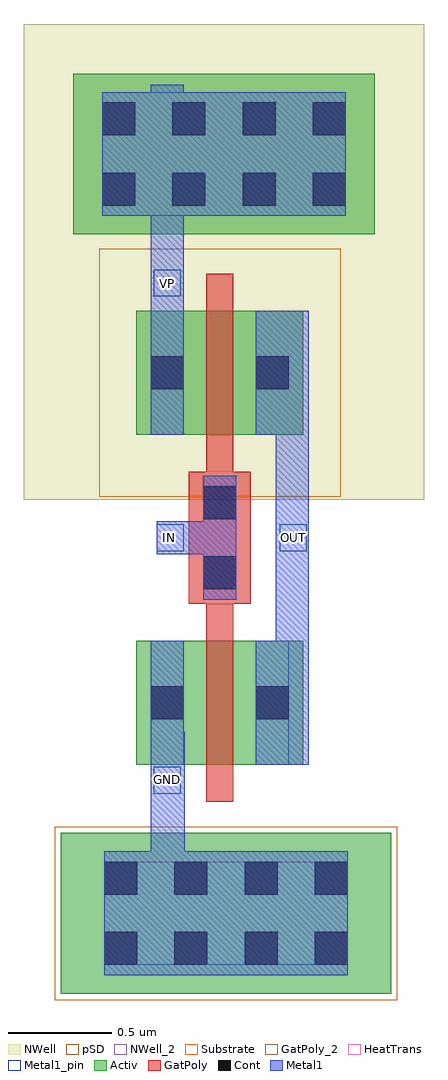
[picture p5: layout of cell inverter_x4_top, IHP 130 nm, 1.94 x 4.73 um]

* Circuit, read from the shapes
.subckt inverter_x4_top GND IN OUT VP
XM1 OUT IN GND GND sg13_lv_nmos w=0.6u l=0.13u
XM2 OUT IN VP VP sg13_lv_pmos w=0.6u l=0.13u
.ends

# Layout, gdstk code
import gdstk
lib = gdstk.Library(unit=1e-6, precision=1e-09)
def R(c, l, rs):  # rectangles x0, y0, x1, y1
    for r in rs: c.add(gdstk.rectangle(r[:2], r[2:], *l))
def A(c, l, x, y, w, h, nx, ny, dx, dy):  # array of equal rectangles
    R(c, l, [(x+i*dx, y+j*dy, x+i*dx+w, y+j*dy+h) for i in range(nx) for j in range(ny)])
Activ = (1, 0)
GatPoly = (5, 0)
GatPoly_2 = (5, 2)
Cont = (6, 0)
Metal1 = (8, 0)
Metal1_pin = (8, 2)
pSD = (14, 0)
NWell = (31, 0)
NWell_2 = (31, 2)
Substrate = (40, 0)
HeatTrans = (51, 0)

nmos_24 = lib.new_cell('nmos$24')
R(nmos_24, Activ, [(0,0,0.3,0.3), (0,0,0.81,0.6), (0.51,0,0.81,0.3)])
R(nmos_24, GatPoly, [(0.34,-0.18,0.47,0.78)])
R(nmos_24, GatPoly_2, [(0.34,-0.18,0.47,0.78)])
R(nmos_24, Cont, [(0.07,0.22,0.23,0.38), (0.58,0.22,0.74,0.38)])
R(nmos_24, Metal1, [(0.07,0,0.23,0.6), (0.58,0,0.74,0.6)])
R(nmos_24, Metal1_pin, [(0.07,0,0.23,0.6), (0.58,0,0.74,0.6)])
R(nmos_24, HeatTrans, [(0.34,-0.18,0.47,0.78)])
nmos_24.add(gdstk.Label('nmos', (0.405,0.3), layer=63, texttype=0))
nmos_24.add(gdstk.Label('nmos', (0.405,0.3), layer=51, texttype=0))

ptap1_32 = lib.new_cell('ptap1$32')
R(ptap1_32, Activ, [(0,0,1.6,0.78)])
A(ptap1_32, Cont, 0.21, 0.14, 0.16, 0.16, 4, 2, 0.34, 0.34)
R(ptap1_32, Metal1, [(0.21,0.09,1.39,0.69), (0.21,0.14,1.39,0.64)])
R(ptap1_32, Metal1_pin, [(0.21,0.14,1.39,0.64)])
R(ptap1_32, pSD, [(-0.03,-0.03,1.63,0.81)])
R(ptap1_32, Substrate, [(0,0,1.6,0.78)])
ptap1_32.add(gdstk.Label('sub!', (0.8,0.01), layer=63, texttype=0))
ptap1_32.add(gdstk.Label('sub!', (0.8,0.01), layer=40, texttype=0))

via_72 = lib.new_cell('Via$72')
R(via_72, GatPoly, [(-0.15,-0.32,0.15,0.32)])
R(via_72, Cont, [(-0.08,-0.25,0.08,-0.09), (-0.08,0.09,0.08,0.25)])
R(via_72, Metal1, [(-0.08,-0.3,0.08,0.3)])

ntap1_23 = lib.new_cell('ntap1$23')
R(ntap1_23, Activ, [(0,0,0.78,0.78)])
R(ntap1_23, Cont, [(0.14,0.14,0.3,0.3), (0.48,0.14,0.64,0.3), (0.14,0.48,0.3,0.64), (0.48,0.48,0.64,0.64)])
R(ntap1_23, Metal1, [(0.14,0.09,0.64,0.69)])
R(ntap1_23, Metal1_pin, [(0.14,0.09,0.64,0.69), (0.14,0.14,0.64,0.64)])
R(ntap1_23, NWell, [(-0.24,-0.24,1.02,1.02), (0,0,0.78,0.78)])
R(ntap1_23, NWell_2, [(0,0,0.78,0.78)])
ntap1_23.add(gdstk.Label('well', (0.39,0.01), layer=63, texttype=0))
ntap1_23.add(gdstk.Label('well', (0.39,0.01), layer=31, texttype=0))

pmos_19 = lib.new_cell('pmos$19')
R(pmos_19, Activ, [(0,0,0.3,0.3), (0,0,0.81,0.6), (0.51,0,0.81,0.3)])
R(pmos_19, GatPoly, [(0.34,-0.18,0.47,0.78), (0.34,-0.18,0.47,0.78)])
R(pmos_19, Cont, [(0.07,0.22,0.23,0.38), (0.58,0.22,0.74,0.38)])
R(pmos_19, Metal1, [(0.07,0,0.23,0.6), (0.07,0,0.23,0.6), (0.58,0,0.74,0.6), (0.58,0,0.74,0.6)])
R(pmos_19, pSD, [(-0.18,-0.3,0.99,0.9)])
R(pmos_19, NWell, [(-0.31,-0.31,1.12,0.91)])
R(pmos_19, HeatTrans, [(0.34,-0.18,0.47,0.78)])
pmos_19.add(gdstk.Label('pmos', (0.405,0.3), layer=63, texttype=0))
pmos_19.add(gdstk.Label('pmos', (0.405,0.3), layer=51, texttype=0))

inverter_x4_top = lib.new_cell('inverter_x4_top')
R(inverter_x4_top, GatPoly, [(-0.265,-3.15,-0.135,-2.95)])
R(inverter_x4_top, Metal1, [(-0.535,-4.395,-0.37,-4.1), (-0.535,-4.1,-0.37,-3.535), (-0.535,-1.675,-0.375,-1.375), (-0.535,-1.39,-0.375,-0.4)])
R(inverter_x4_top, Metal1_pin, [(-0.52,-3.835,-0.39,-3.705), (-0.505,-2.66,-0.375,-2.53), (0.09,-2.66,0.22,-2.53), (-0.52,-1.425,-0.39,-1.295)])
R(inverter_x4_top, NWell, [(-1.15,-2.41,0.79,-0.105)])
inverter_x4_top.add(gdstk.FlexPath([(-0.2,-2.595),(-0.505,-2.595)], 0.16, ends="flush", simple_path=True, layer=8, datatype=0))  # Metal1
inverter_x4_top.add(gdstk.FlexPath([(0.15,-3.695),(0.15,-1.495)], 0.16, ends="flush", simple_path=True, layer=8, datatype=0))  # Metal1
inverter_x4_top.add(gdstk.Reference(nmos_24, (-0.605,-3.695)))
inverter_x4_top.add(gdstk.Reference(ptap1_32, (-0.97,-4.805)))
inverter_x4_top.add(gdstk.Reference(via_72, (-0.2,-2.595)))
inverter_x4_top.add(gdstk.Reference(ntap1_23, (-0.23,-1.125)))
inverter_x4_top.add(gdstk.Reference(ntap1_23, (-0.91,-1.125)))
inverter_x4_top.add(gdstk.Reference(pmos_19, (-0.605,-2.095)))
inverter_x4_top.add(gdstk.Reference(ntap1_23, (-0.57,-1.125)))
inverter_x4_top.add(gdstk.Label('IN', (-0.445,-2.595), layer=8, texttype=25))
inverter_x4_top.add(gdstk.Label('VP', (-0.455,-1.365), layer=8, texttype=25))
inverter_x4_top.add(gdstk.Label('GND', (-0.455,-3.765), layer=8, texttype=25))
inverter_x4_top.add(gdstk.Label('OUT', (0.155,-2.595), layer=8, texttype=25))

lib.write_gds('inverter_x4_top.gds')
